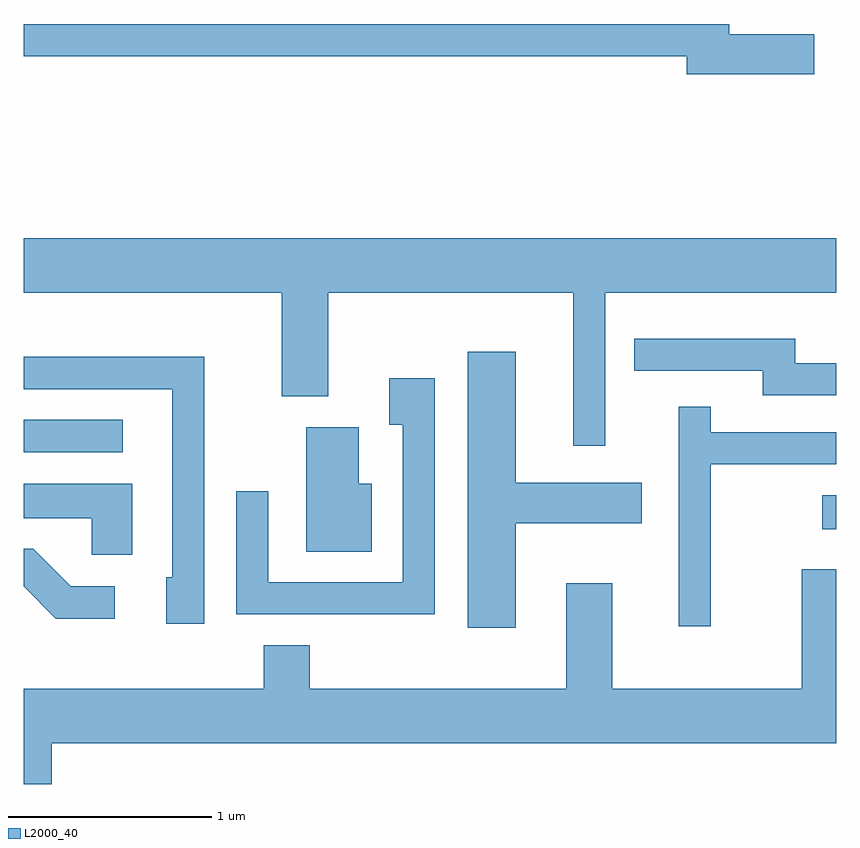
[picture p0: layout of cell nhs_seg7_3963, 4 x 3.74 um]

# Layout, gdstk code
import gdstk
lib = gdstk.Library(unit=1e-6, precision=1e-09)
def R(c, l, rs):  # rectangles x0, y0, x1, y1
    for r in rs: c.add(gdstk.rectangle(r[:2], r[2:], *l))
def P(c, l, *ps):  # polygons
    for p in ps: c.add(gdstk.Polygon(p, *l))
L2000_40 = (2000, 40)

nhs_seg7_3963 = lib.new_cell('nhs_seg7_3963')
R(nhs_seg7_3963, L2000_40, [(309.543,1779.751,309.611,1779.919), (305.611,1780.131,306.098,1780.289)])
P(nhs_seg7_3963, L2000_40, [(309.504,1782.189),(309.084,1782.189),(309.084,1782.239),(305.611,1782.239),(305.611,1782.081),(308.876,1782.081),(308.876,1781.991),(309.504,1781.991)],
  [(308.474,1780.916),(309.611,1780.916),(309.611,1781.184),(305.611,1781.184),(305.611,1780.916),(306.881,1780.916),(306.881,1780.406),(307.109,1780.406),(307.109,1780.916),(308.316,1780.916),(308.316,1780.163),(308.474,1780.163)],
  [(309.611,1780.569),(309.409,1780.569),(309.409,1780.689),(308.618,1780.689),(308.618,1780.531),(309.251,1780.531),(309.251,1780.411),(309.611,1780.411)],
  [(308.034,1779.781),(308.654,1779.781),(308.654,1779.979),(308.034,1779.979),(308.034,1780.624),(307.796,1780.624),(307.796,1779.266),(308.034,1779.266)],
  [(306.499,1780.599),(305.611,1780.599),(305.611,1780.441),(306.341,1780.441),(306.341,1779.514),(306.311,1779.514),(306.311,1779.286),(306.499,1779.286)],
  [(307.634,1780.494),(307.411,1780.494),(307.411,1780.266),(307.476,1780.266),(307.476,1779.489),(306.814,1779.489),(306.814,1779.938),(306.656,1779.938),(306.656,1779.331),(307.634,1779.331)],
  [(308.994,1780.071),(309.611,1780.071),(309.611,1780.229),(308.994,1780.229),(308.994,1780.353),(308.836,1780.353),(308.836,1779.273),(308.994,1779.273)],
  [(307.324,1779.974),(307.259,1779.974),(307.259,1780.254),(307.001,1780.254),(307.001,1779.641),(307.324,1779.641)],
  [(306.144,1779.974),(305.611,1779.974),(305.611,1779.806),(305.946,1779.806),(305.946,1779.626),(306.144,1779.626)],
  [(306.058,1779.469),(305.842,1779.469),(305.657,1779.654),(305.611,1779.654),(305.611,1779.469),(305.769,1779.311),(306.058,1779.311)],
  [(305.749,1778.696),(309.611,1778.696),(309.611,1779.554),(309.441,1779.554),(309.441,1778.964),(308.509,1778.964),(308.509,1779.484),(308.281,1779.484),(308.281,1778.964),(307.019,1778.964),(307.019,1779.179),(306.791,1779.179),(306.791,1778.964),(305.611,1778.964),(305.611,1778.496),(305.749,1778.496)])

lib.write_gds('nhs_seg7_3963.gds')
